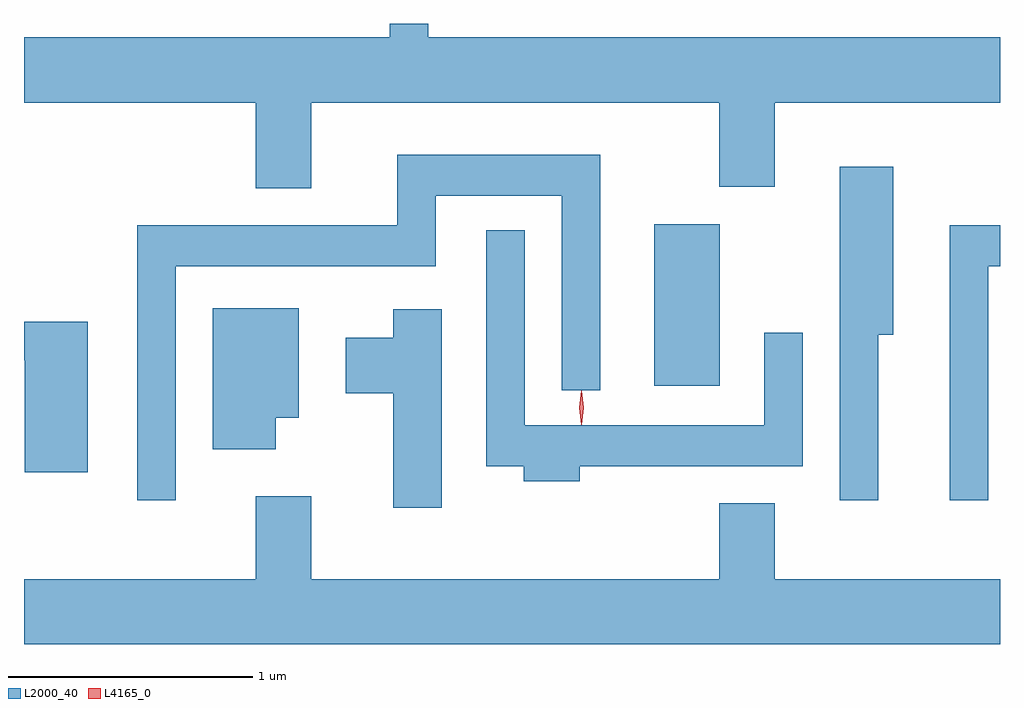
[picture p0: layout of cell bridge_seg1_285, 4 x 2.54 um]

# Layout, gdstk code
import gdstk
lib = gdstk.Library(unit=1e-6, precision=1e-09)
def R(c, l, rs):  # rectangles x0, y0, x1, y1
    for r in rs: c.add(gdstk.rectangle(r[:2], r[2:], *l))
def P(c, l, *ps):  # polygons
    for p in ps: c.add(gdstk.Polygon(p, *l))
L2000_40 = (2000, 40)
L4165_0 = (4165, 0)

bridge_seg1_285 = lib.new_cell('bridge_seg1_285')
R(bridge_seg1_285, L2000_40, [(872.376,891.756,872.644,892.419)])
P(bridge_seg1_285, L2000_40, [(870.969,892.916),(872.641,892.916),(872.641,892.571),(872.869,892.571),(872.869,892.916),(873.792,892.916),(873.792,893.184),(871.449,893.184),(871.449,893.241),(871.291,893.241),(871.291,893.184),(869.792,893.184),(869.792,892.916),(870.741,892.916),(870.741,892.566),(870.969,892.566)],
  [(870.414,892.246),(871.479,892.246),(871.479,892.536),(871.996,892.536),(871.996,891.738),(872.154,891.738),(872.154,892.704),(871.321,892.704),(871.321,892.414),(870.256,892.414),(870.256,891.288),(870.414,891.288)],
  [(873.294,891.966),(873.354,891.966),(873.354,892.654),(873.136,892.654),(873.136,891.288),(873.294,891.288)],
  [(873.744,892.246),(873.792,892.246),(873.792,892.414),(873.586,892.414),(873.586,891.288),(873.744,891.288)],
  [(872.069,891.426),(872.984,891.426),(872.984,891.973),(872.826,891.973),(872.826,891.594),(871.844,891.594),(871.844,892.393),(871.686,892.393),(871.686,891.426),(871.841,891.426),(871.841,891.366),(872.069,891.366)],
  [(870.824,891.626),(870.919,891.626),(870.919,892.074),(870.566,892.074),(870.566,891.496),(870.824,891.496)],
  [(871.504,892.069),(871.306,892.069),(871.306,891.954),(871.111,891.954),(871.111,891.726),(871.306,891.726),(871.306,891.256),(871.504,891.256)],
  [(870.054,892.019),(869.792,892.019),(869.792,891.861),(869.796,891.861),(869.796,891.401),(870.054,891.401)],
  [(873.792,890.964),(872.869,890.964),(872.869,891.274),(872.641,891.274),(872.641,890.964),(870.969,890.964),(870.969,891.304),(870.741,891.304),(870.741,890.964),(869.792,890.964),(869.792,890.696),(873.792,890.696)])
P(bridge_seg1_285, L4165_0, [(872.077,891.599),(872.076,891.6),(872.067,891.666),(872.076,891.732),(872.076,891.733),(872.077,891.732),(872.086,891.666),(872.077,891.6)],
  [(872.076,891.597),(872.067,891.667),(872.076,891.736),(872.077,891.736),(872.077,891.736),(872.087,891.667),(872.077,891.597),(872.077,891.597)])

lib.write_gds('bridge_seg1_285.gds')
